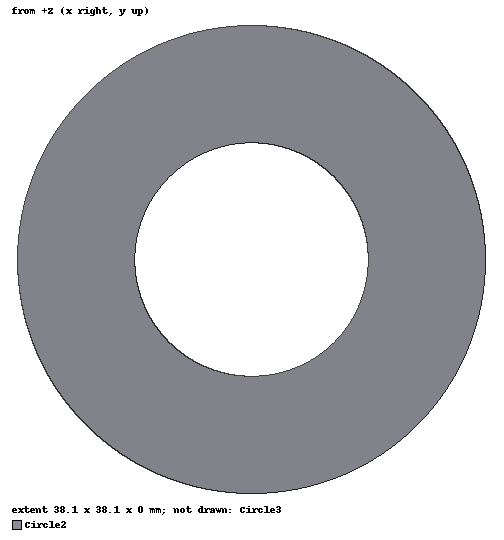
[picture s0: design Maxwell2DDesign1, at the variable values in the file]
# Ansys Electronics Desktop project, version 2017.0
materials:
  vacuum: permittivity=1
  ferrite: permittivity=12 permeability=1000 conductivity=0.01
  ferrite1: permittivity=12 permeability=5000 conductivity=0.01
  air: permittivity=1.0006 permeability=1.0000004

design Maxwell2DDesign1 (Maxwell 2D, Magnetostatic, XY geometry, model units mm)
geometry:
  Circle1 = circle(normal=Z, centre=(0mm, 0mm, 0mm), radius=9.5mm)
  Circle2 [ferrite1] = circle(normal=Z, centre=(0mm, 0mm, 0mm), radius=19.05mm)
  Circle2.subtract(Circle1)
  Circle3 [air] = circle(normal=Z, centre=(0mm, 0mm, 0mm), radius=40mm)
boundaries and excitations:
  Balloon1: Balloon Edges=Circle3.edge(1 of 1)
  Current1: Current Edges=Circle2.edge(at (-9.5, 0, 0)) Current=5A IsPositive=true
  Current2: Current Edges=Circle2.edge(1 of 1) Current=5A IsPositive=false
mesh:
  Length1: LengthBased Objects=[Circle2, Circle3] MaxLength=16mm
  initial mesh: MeshMethod=AnsoftClassic
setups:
  Setup1: Magnetostatic MaximumPasses=10 MinimumPasses=2 MinimumConvergedPasses=1 PercentRefinement=30 PercentError=1 NonLinearResidual=0.0001
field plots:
  Mag_B1, B_Vector1: B over Circle2, Circle3 on Setup1 : LastAdaptive
  Mesh2: MeshPlots over Circle2, Circle3 on Setup1 : LastAdaptive
  coEnergy1: Energy over Circle3 on Setup1 : LastAdaptive
  coEnergy2: Energy over Circle2 on Setup1 : LastAdaptive
